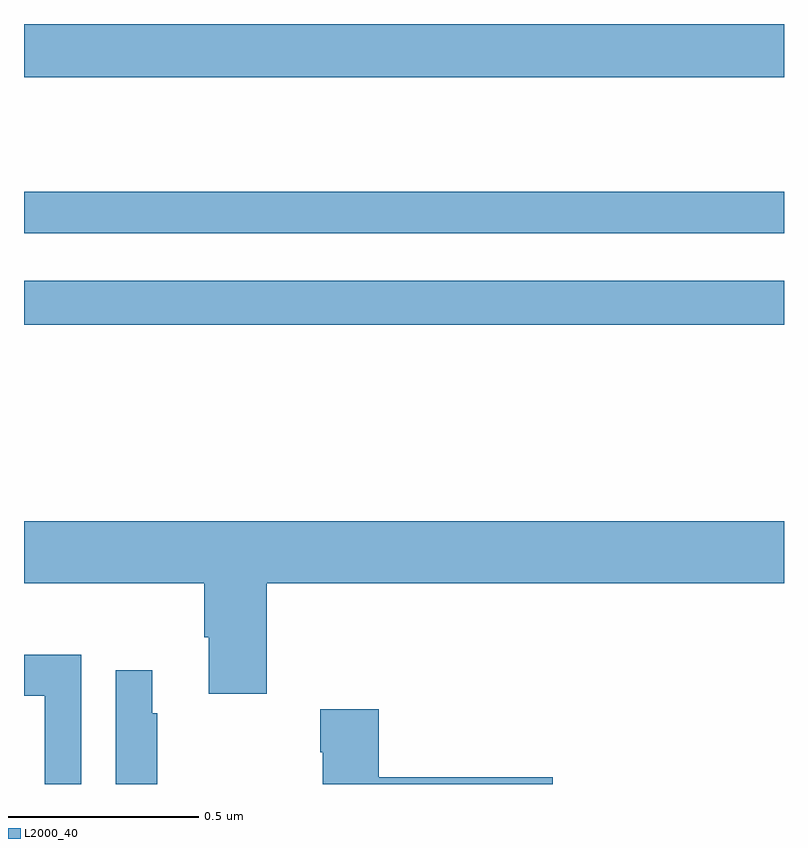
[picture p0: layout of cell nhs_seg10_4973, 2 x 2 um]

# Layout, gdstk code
import gdstk
lib = gdstk.Library(unit=1e-6, precision=1e-09)
def R(c, l, rs):  # rectangles x0, y0, x1, y1
    for r in rs: c.add(gdstk.rectangle(r[:2], r[2:], *l))
def P(c, l, *ps):  # polygons
    for p in ps: c.add(gdstk.Polygon(p, *l))
L2000_40 = (2000, 40)

nhs_seg10_4973 = lib.new_cell('nhs_seg10_4973')
R(nhs_seg10_4973, L2000_40, [(173,1255.708,175,1255.824), (173,1255.95,175,1256.059), (173,1256.36,175,1256.5)])
P(nhs_seg10_4973, L2000_40, [(173.639,1255.028),(175,1255.028),(175,1255.192),(173,1255.192),(173,1255.028),(173.474,1255.028),(173.474,1254.886),(173.486,1254.886),(173.486,1254.738),(173.639,1254.738)],
  [(173.151,1254.84),(173,1254.84),(173,1254.732),(173.054,1254.732),(173.054,1254.5),(173.151,1254.5)],
  [(173.35,1254.686),(173.338,1254.686),(173.338,1254.799),(173.241,1254.799),(173.241,1254.5),(173.35,1254.5)],
  [(174.391,1254.518),(173.933,1254.518),(173.933,1254.697),(173.779,1254.697),(173.779,1254.584),(173.786,1254.584),(173.786,1254.5),(174.391,1254.5)])

lib.write_gds('nhs_seg10_4973.gds')
